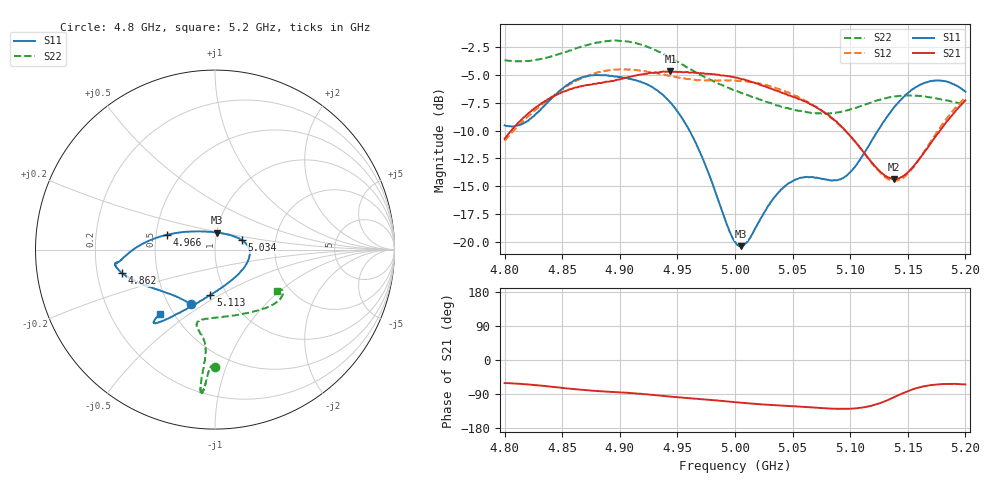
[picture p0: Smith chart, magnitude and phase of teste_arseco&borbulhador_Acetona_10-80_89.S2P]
! Network Analyzer HP8722D
! Hewlett-Packard
! Data name: Linha & Wilkinson
! Saver's name: Rodrigo Anjos
! Comments: Teste da utilização de aquisição
! continua pelo VNA HP8722D
! Time and date: 17/4/2025 15:06
!  Frequency  S11  S21  S12  S22
# HZ  S  MA R 50
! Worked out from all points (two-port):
!   401 points, 4.8 GHz to 5.2 GHz, reference 50 ohm
!   highest |S21| = -4.66 dB at 4.944 GHz (marker M1); lowest = -14.4 dB at 5.138 GHz (marker M2)
!   |S21| within 3 dB of the highest: 4.831 GHz to 5.066 GHz (235.9 MHz wide, 4.77 % of centre); 5.196407 GHz to end of sweep
!   lowest |S11| = -20.4 dB at 5.005 GHz (marker M3), VSWR 1.21, Z = 50.3 + j9.62 ohm
!   |S11| at or under -10 dB: 4.961 GHz to 5.124 GHz (163.4 MHz wide, 3.24 % of centre)
!   |S22| runs from -8.5 to -1.9 dB; largest |S21 - S12| = 0.88
!   S11 on the Smith chart (normalised r, x): 4.8 GHz: 0.64, -0.44; 4.862 GHz: 0.31, -0.11; 4.966 GHz: 0.57, +0.10; 5.034 GHz: 1.34, +0.15; 5.113 GHz: 0.84, -0.45; 5.2 GHz: 0.42, -0.39
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4.8e9  0.3339 -113.7  0.2906 -60.9  0.2849 -175.2  0.6563 -90.2
4.819e9  0.3476 -133.5  0.3722 -64.2  0.3607 -173.8  0.6511 -91.7
4.862e9  0.5359 -166.0  0.4948 -77.2  0.5303 -177.1  0.7415 -94.0
4.867e9  0.5485 -168.0  0.5017 -78.8  0.5451 -178.1  0.7558 -94.2
4.898e9  0.5522 -172.4  0.5364 -84.8  0.5953 175.7  0.8037 -95.4
4.934e9  0.4728 -178.4  0.579 -93.7  0.572 171.7  0.715 -96.0
4.944e9  0.4228 177.1  0.5846 -96.5  0.5569 171.7  0.6738 -95.7
4.966e9  0.278 162.5  0.5753 -102.1  0.5349 173.5  0.5793 -95.1
5e9  0.1001 100.5  0.5487 -111.4  0.5307 175.9  0.4793 -99.2
5.005e9  0.09551 82.7  0.541 -112.5  0.5291 176.0  0.4683 -100.5
5.012e9  0.1021 59.8  0.5287 -114.4  0.5246 175.7  0.4555 -101.8
5.034e9  0.1582 20.0  0.4825 -119.3  0.4954 174.7  0.4144 -103.5
5.049e9  0.1859 4.5  0.4509 -121.8  0.4624 174.0  0.3951 -99.8
5.067e9  0.1955 -14.5  0.4129 -125.0  0.4135 173.6  0.3801 -90.6
5.093e9  0.1925 -58.8  0.327 -128.8  0.3274 173.9  0.3852 -70.4
5.113e9  0.2545 -95.9  0.2475 -124.3  0.2474 -179.9  0.4146 -54.8
5.134e9  0.3769 -116.8  0.1938 -103.8  0.1905 -156.8  0.4468 -43.0
5.138e9  0.4025 -119.0  0.1913 -98.3  0.1883 -150.4  0.4498 -41.2
5.151e9  0.4709 -124.8  0.2075 -81.0  0.205 -130.6  0.4556 -36.5
5.17e9  0.5282 -129.1  0.2776 -66.2  0.2828 -112.5  0.4462 -32.0
5.184e9  0.525 -130.4  0.3488 -63.2  0.36 -107.4  0.4322 -31.1
5.2e9  0.4732 -130.7  0.4323 -64.5  0.4443 -106.7  0.4153 -33.5
